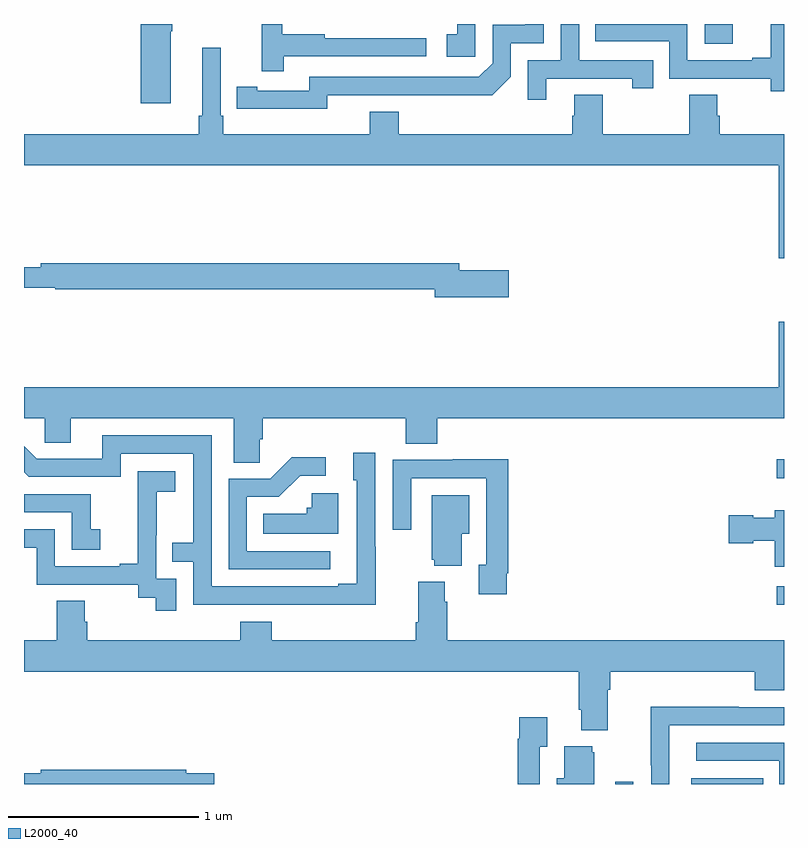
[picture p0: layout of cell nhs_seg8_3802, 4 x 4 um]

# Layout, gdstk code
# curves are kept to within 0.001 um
import gdstk
lib = gdstk.Library(unit=1e-6, precision=1e-09)
def R(c, l, rs):  # rectangles x0, y0, x1, y1
    for r in rs: c.add(gdstk.rectangle(r[:2], r[2:], *l))
def P(c, l, *ps):  # polygons
    for p in ps: c.add(gdstk.Polygon(p, *l))
L2000_40 = (2000, 40)

nhs_seg8_3802 = lib.new_cell('nhs_seg8_3802')
R(nhs_seg8_3802, L2000_40, [(348.111,1123.9,348.207,1123.912), (348.512,1123.9,348.89,1123.93), (348.963,1124.843,349,1124.94), (348.963,1125.509,349,1125.608), (348.582,1127.796,348.73,1127.9)])
P(nhs_seg8_3802, L2000_40, [(347.749,1127.613),(348.2,1127.613),(348.2,1127.562),(348.311,1127.562),(348.311,1127.709),(347.922,1127.709),(347.922,1127.9),(347.826,1127.9),(347.826,1127.709),(347.652,1127.709),(347.652,1127.502),(347.749,1127.502)],
  [(346.596,1127.526),(347.464,1127.525),(347.562,1127.622),(347.562,1127.799),(347.736,1127.799),(347.736,1127.9),(347.639,1127.9),(347.639,1127.895),(347.466,1127.895),(347.466,1127.694),(347.394,1127.622),(346.5,1127.622),(346.5,1127.55),(346.228,1127.55),(346.228,1127.57),(346.12,1127.57),(346.12,1127.454),(346.596,1127.453)],
  [(347.376,1127.9),(347.279,1127.9),(347.279,1127.847),(347.226,1127.847),(347.226,1127.727),(347.376,1127.727)],
  [(346.367,1127.73),(347.116,1127.73),(347.116,1127.826),(346.583,1127.826),(346.583,1127.846),(346.36,1127.846),(346.36,1127.9),(346.25,1127.9),(346.25,1127.652),(346.367,1127.652)],
  [(345.772,1127.863),(345.78,1127.863),(345.78,1127.9),(345.614,1127.9),(345.614,1127.484),(345.772,1127.484)],
  [(349,1127.9),(348.929,1127.9),(348.929,1127.722),(348.833,1127.722),(348.833,1127.709),(348.492,1127.709),(348.492,1127.9),(348.007,1127.9),(348.007,1127.808),(348.396,1127.808),(348.396,1127.613),(348.93,1127.613),(348.93,1127.545),(349,1127.545)],
  [(349,1127.32),(348.662,1127.32),(348.662,1127.418),(348.649,1127.418),(348.649,1127.528),(348.502,1127.528),(348.502,1127.32),(348.045,1127.32),(348.045,1127.528),(347.897,1127.528),(347.897,1127.418),(347.885,1127.418),(347.885,1127.32),(346.973,1127.32),(346.973,1127.437),(346.82,1127.437),(346.82,1127.32),(346.049,1127.32),(346.049,1127.416),(346.035,1127.416),(346.035,1127.776),(345.938,1127.776),(345.938,1127.416),(345.919,1127.416),(345.919,1127.32),(345,1127.32),(345,1127.156),(348.973,1127.156),(348.973,1126.668),(349,1126.668)],
  [(347.551,1126.604),(347.29,1126.604),(347.29,1126.64),(345.088,1126.64),(345.088,1126.621),(345,1126.621),(345,1126.512),(345.164,1126.512),(345.164,1126.504),(347.162,1126.504),(347.162,1126.462),(347.551,1126.462)],
  [(346.242,1125.715),(346.256,1125.715),(346.256,1125.824),(347.009,1125.824),(347.009,1125.691),(347.174,1125.691),(347.174,1125.824),(349,1125.824),(349,1126.333),(348.973,1126.333),(348.973,1125.988),(345,1125.988),(345,1125.824),(345.108,1125.824),(345.108,1125.697),(345.247,1125.697),(345.247,1125.824),(346.103,1125.824),(346.103,1125.592),(346.242,1125.592)],
  [(346.851,1125.149),(346.848,1125.149),(346.848,1125.643),(346.733,1125.643),(346.733,1125.498),(346.752,1125.498),(346.752,1124.953),(346.655,1124.953),(346.655,1124.94),(345.987,1124.94),(345.987,1125.735),(345.413,1125.735),(345.413,1125.612),(345.066,1125.612),(345,1125.678),(345,1125.54),(345.024,1125.516),(345.51,1125.516),(345.51,1125.639),(345.891,1125.639),(345.891,1125.17),(345.781,1125.17),(345.781,1125.069),(345.891,1125.069),(345.891,1124.844),(346.851,1124.843)],
  [(346.612,1125.126),(346.173,1125.126),(346.173,1125.411),(346.342,1125.411),(346.453,1125.522),(346.588,1125.522),(346.588,1125.62),(346.409,1125.62),(346.296,1125.507),(346.077,1125.507),(346.077,1125.03),(346.612,1125.03)],
  [(347.542,1125.01),(347.549,1125.01),(347.549,1125.608),(347.257,1125.608),(347.257,1125.606),(346.941,1125.606),(346.941,1125.237),(347.037,1125.237),(347.037,1125.51),(347.433,1125.51),(347.433,1125.054),(347.393,1125.054),(347.393,1124.898),(347.542,1124.898)],
  [(345.801,1124.979),(345.696,1124.979),(345.696,1125.209),(345.698,1125.209),(345.698,1125.437),(345.796,1125.437),(345.796,1125.547),(345.598,1125.547),(345.598,1125.341),(345.599,1125.341),(345.599,1125.058),(345.503,1125.058),(345.503,1125.045),(345.162,1125.045),(345.162,1125.24),(345,1125.24),(345,1125.144),(345.066,1125.144),(345.066,1124.949),(345.6,1124.949),(345.6,1124.881),(345.693,1124.881),(345.693,1124.811),(345.801,1124.811)],
  [(346.654,1125.43),(346.515,1125.43),(346.515,1125.354),(346.489,1125.354),(346.489,1125.322),(346.258,1125.322),(346.258,1125.218),(346.654,1125.218)],
  [(345.4,1125.241),(345.351,1125.241),(345.351,1125.426),(345,1125.426),(345,1125.33),(345.252,1125.33),(345.252,1125.132),(345.4,1125.132)],
  [(347.305,1125.218),(347.344,1125.218),(347.344,1125.421),(347.147,1125.421),(347.147,1125.081),(347.159,1125.081),(347.159,1125.05),(347.305,1125.05)],
  [(349,1125.34),(348.95,1125.34),(348.95,1125.301),(348.837,1125.301),(348.837,1125.314),(348.708,1125.314),(348.708,1125.167),(348.837,1125.167),(348.837,1125.179),(348.95,1125.179),(348.95,1125.044),(349,1125.044)],
  [(348.073,1124.396),(348.086,1124.396),(348.086,1124.492),(348.845,1124.492),(348.845,1124.393),(349,1124.393),(349,1124.656),(347.228,1124.656),(347.228,1124.858),(347.215,1124.858),(347.215,1124.965),(347.075,1124.965),(347.075,1124.752),(347.063,1124.752),(347.063,1124.656),(346.304,1124.656),(346.304,1124.755),(346.139,1124.755),(346.139,1124.656),(345.332,1124.656),(345.332,1124.754),(345.319,1124.754),(345.319,1124.864),(345.172,1124.864),(345.172,1124.656),(345,1124.656),(345,1124.492),(347.921,1124.492),(347.921,1124.29),(347.933,1124.29),(347.933,1124.183),(348.073,1124.183)],
  [(348.396,1124.208),(349,1124.208),(349,1124.304),(348.761,1124.304),(348.761,1124.306),(348.298,1124.306),(348.298,1123.999),(348.3,1123.999),(348.3,1123.9),(348.396,1123.9)],
  [(347.715,1124.095),(347.755,1124.095),(347.755,1124.251),(347.607,1124.251),(347.607,1124.138),(347.599,1124.138),(347.599,1123.9),(347.715,1123.9)],
  [(349,1124.118),(348.537,1124.118),(348.537,1124.022),(348.975,1124.022),(348.975,1123.9),(349,1123.9)],
  [(348.001,1124.067),(347.99,1124.067),(347.99,1124.098),(347.843,1124.098),(347.843,1123.93),(347.804,1123.93),(347.804,1123.9),(348.001,1123.9)],
  [(346.001,1123.956),(345.854,1123.956),(345.854,1123.976),(345.088,1123.976),(345.088,1123.957),(345,1123.957),(345,1123.9),(346.001,1123.9)])

lib.write_gds('nhs_seg8_3802.gds')
